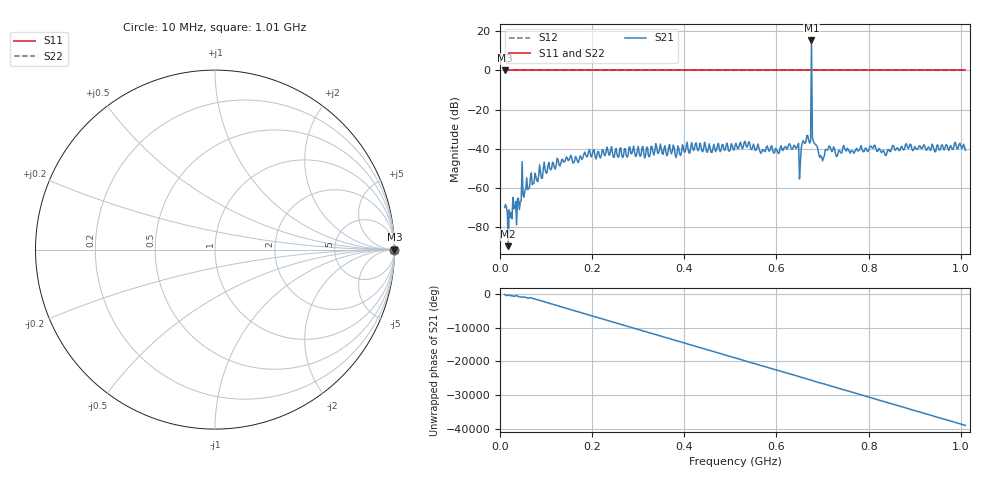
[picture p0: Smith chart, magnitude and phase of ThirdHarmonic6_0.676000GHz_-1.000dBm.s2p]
! 8/15/2025 10:32:02 PM
! C:\ANRITSUVNA\TEMP\TEMP.S2P
! CHANNEL.1
! TR.MEASUREMENT
! RAW.DATA
! RF.CORRECTION.OFF
! AVERAGING.OFF
! IF.BANDWIDTH: 5KHZ
! SWEEPTYPE:  FREQ.SWEEP(Linear)
! Reference Plane Port Info
! PORT:  PORT1  PORT2
! DISTANCE:  0  m  0  m
! TIME:  0  s  0  s
! PHASE.OFFSET:  0  deg.  0  deg.
! LOSS:  0  dB  0  dB
! REF.LOSS:  0  dB  0  dB
! REF.FREQ:  0  Hz  0  Hz
! Power Info
! POWER:  -20  dBm  -20  dBm
! EFF.POWER:  -20  dBm  -20  dBm
! SOURCE.ATTEN:  0  dB  0  dB
! TEST.ATTEN:  0  dB  0  dB
# GHZ S RI R 50.0
! FREQ.GHZ  S11RE  S11IM  S21RE  S21IM  S12RE  S12IM  S22RE  S22IM
!; PortSelection: Port_12
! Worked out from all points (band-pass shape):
!   501 points, 10 MHz to 1.01 GHz, reference 50 ohm
!   highest |S21| = 15.21 dB at 676 MHz (marker M1); lowest = -89.5 dB at 18 MHz (marker M2)
!   |S21| within 3 dB of the highest: 675.883 MHz to 676.1212 MHz (238.2 kHz wide, 0.0352 % of centre)
!   lowest |S11| = 0.0 dB at 10 MHz (marker M3)
!   |S11| at or under -10 dB: nowhere
!   |S22| runs from 0.0 to 0.0 dB; largest |S21 - S12| = 4.8
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0.01  1 0  -0.000119 -0.000299  1 0  1 0
0.018  1 0  -1.78e-05 2.83e-05  1 0  1 0
0.04  1 0  0.000501 0.00023  1 0  1 0
0.044  1 0  -8.42e-05 -0.000445  1 0  1 0
0.052  1 0  -2.86e-05 -0.000589  1 0  1 0
0.098  1 0  -0.00276 0.000946  1 0  1 0
0.178  1 0  -0.00535 8.52e-05  1 0  1 0
0.344  1 0  0.00681 -0.0039  1 0  1 0
0.51  1 0  -0.00939 0.00731  1 0  1 0
0.644  1 0  -0.00946 0.00498  1 0  1 0
0.648  1 0  0.0135 -0.00317  1 0  1 0
0.67  1 0  -0.0149 0.0071  1 0  1 0
0.672  1 0  0.00302 0.0136  1 0  1 0
0.676  1 0  5.761 0.0933  1 0  1 0
0.678  1 0  -0.0193 -0.000675  1 0  1 0
0.68  1 0  -0.0016 0.0156  1 0  1 0
0.682  1 0  0.0134 0.00361  1 0  1 0
0.698  1 0  -0.0016 0.00594  1 0  1 0
0.714  1 0  -0.0106 -0.00534  1 0  1 0
0.732  1 0  -0.006 -0.00272  1 0  1 0
0.844  1 0  0.00883 0.00376  1 0  1 0
1.01  1 0  -0.00919 0.000701  1 0  1 0
